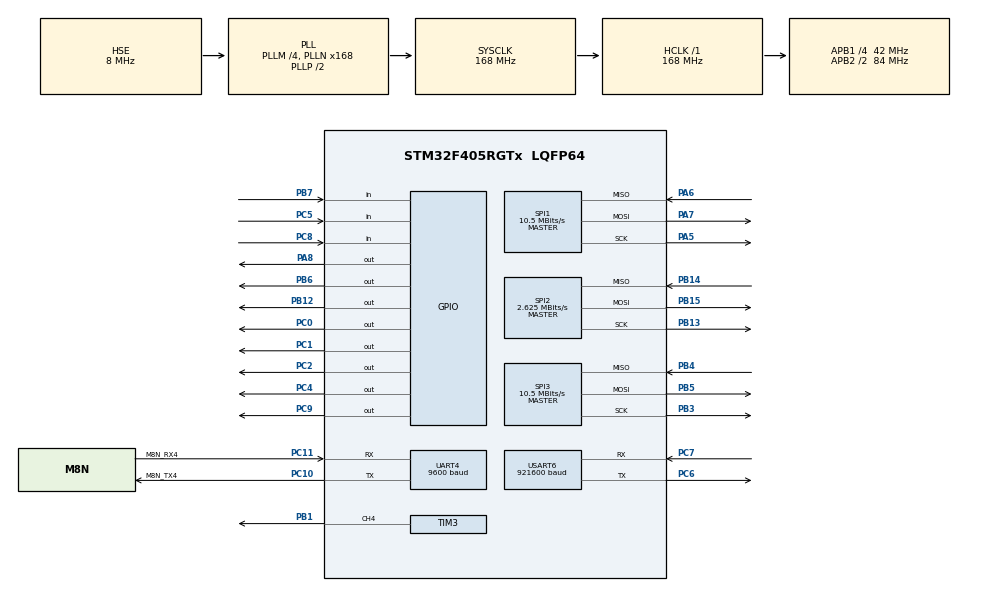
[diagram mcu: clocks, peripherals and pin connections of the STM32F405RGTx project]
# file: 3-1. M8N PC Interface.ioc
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Mcu.Family=STM32F4
Mcu.Name=STM32F405RGTx
Mcu.Package=LQFP64
NVIC.PriorityGroup=NVIC_PRIORITYGROUP_4
NVIC.UART4_IRQn=true\:0\:0\:false\:false\:true\:true\:true
NVIC.USART6_IRQn=true\:0\:0\:false\:false\:true\:true\:true
PA5.Mode=Full_Duplex_Master
PA5.Signal=SPI1_SCK
PA6.Mode=Full_Duplex_Master
PA6.Signal=SPI1_MISO
PA7.Mode=Full_Duplex_Master
PA7.Signal=SPI1_MOSI
PA8.Signal=GPIO_Output
PB1.Signal=S_TIM3_CH4
PB12.Signal=GPIO_Output
PB13.Mode=Full_Duplex_Master
PB13.Signal=SPI2_SCK
PB14.Mode=Full_Duplex_Master
PB14.Signal=SPI2_MISO
PB15.Mode=Full_Duplex_Master
PB15.Signal=SPI2_MOSI
PB3.Mode=Full_Duplex_Master
PB3.Signal=SPI3_SCK
PB4.Mode=Full_Duplex_Master
PB4.Signal=SPI3_MISO
PB5.Mode=Full_Duplex_Master
PB5.Signal=SPI3_MOSI
PB6.Signal=GPIO_Output
PB7.Signal=GPIO_Input
PC0.Signal=GPIO_Output
PC1.Signal=GPIO_Output
PC10.GPIO_Label=M8N_TX4
PC10.Mode=Asynchronous
PC10.Signal=UART4_TX
PC11.GPIO_Label=M8N_RX4
PC11.Mode=Asynchronous
PC11.Signal=UART4_RX
PC2.Signal=GPIO_Output
PC4.Signal=GPIO_Output
PC5.Signal=GPIO_Input
PC6.Mode=Asynchronous
PC6.Signal=USART6_TX
PC7.Mode=Asynchronous
PC7.Signal=USART6_RX
PC8.Signal=GPIO_Input
PC9.Signal=GPIO_Output
PH0-OSC_IN.Mode=HSE-External-Oscillator
PH0-OSC_IN.Signal=RCC_OSC_IN
PH1-OSC_OUT.Mode=HSE-External-Oscillator
PH1-OSC_OUT.Signal=RCC_OSC_OUT
ProjectManager.HeapSize=0x200
ProjectManager.StackSize=0x400
ProjectManager.TargetToolchain=STM32CubeIDE
RCC.48MHZClocksFreq_Value=84000000
RCC.AHBFreq_Value=168000000
RCC.APB1CLKDivider=RCC_HCLK_DIV4
RCC.APB1Freq_Value=42000000
RCC.APB1TimFreq_Value=84000000
RCC.APB2CLKDivider=RCC_HCLK_DIV2
RCC.APB2Freq_Value=84000000
RCC.APB2TimFreq_Value=168000000
RCC.CortexFreq_Value=168000000
RCC.HCLKFreq_Value=168000000
RCC.HSE_VALUE=8000000
RCC.HSI_VALUE=16000000
RCC.LSE_VALUE=32768
RCC.PLLM=4
RCC.PLLN=168
RCC.PLLSourceVirtual=RCC_PLLSOURCE_HSE
RCC.SYSCLKFreq_VALUE=168000000
RCC.SYSCLKSource=RCC_SYSCLKSOURCE_PLLCLK
RCC.VCOOutputFreq_Value=336000000
SH.S_TIM3_CH4.0=TIM3_CH4,PWM Generation4 CH4
SPI1.BaudRatePrescaler=SPI_BAUDRATEPRESCALER_8
SPI1.CLKPhase=SPI_PHASE_2EDGE
SPI1.CLKPolarity=SPI_POLARITY_HIGH
SPI1.CalculateBaudRate=10.5 MBits/s
SPI1.Direction=SPI_DIRECTION_2LINES
SPI1.Mode=SPI_MODE_MASTER
SPI1.VirtualType=VM_MASTER
SPI2.BaudRatePrescaler=SPI_BAUDRATEPRESCALER_16
SPI2.CLKPhase=SPI_PHASE_2EDGE
SPI2.CLKPolarity=SPI_POLARITY_HIGH
SPI2.CalculateBaudRate=2.625 MBits/s
SPI2.Direction=SPI_DIRECTION_2LINES
SPI2.Mode=SPI_MODE_MASTER
SPI2.VirtualType=VM_MASTER
SPI3.BaudRatePrescaler=SPI_BAUDRATEPRESCALER_4
SPI3.CLKPhase=SPI_PHASE_2EDGE
SPI3.CLKPolarity=SPI_POLARITY_HIGH
SPI3.CalculateBaudRate=10.5 MBits/s
SPI3.Direction=SPI_DIRECTION_2LINES
SPI3.Mode=SPI_MODE_MASTER
SPI3.VirtualType=VM_MASTER
TIM3.AutoReloadPreload=TIM_AUTORELOAD_PRELOAD_ENABLE
TIM3.Channel-PWM\ Generation4\ CH4=TIM_CHANNEL_4
TIM3.OCFastMode_PWM-PWM\ Generation4\ CH4=TIM_OCFAST_ENABLE
TIM3.Period=20
TIM3.Prescaler=999
TIM3.Pulse-PWM\ Generation4\ CH4=10
UART4.BaudRate=9600
UART4.VirtualMode=Asynchronous
USART6.BaudRate=921600
USART6.VirtualMode=VM_ASYNC
VP_TIM3_VS_ClockSourceINT.Mode=Internal
board=custom

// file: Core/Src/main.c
/* USER CODE BEGIN Header */
/**
  ******************************************************************************
  * @file           : main.c
  * @brief          : Main program body
  ******************************************************************************
  * @attention
  *
  * <h2><center>&copy; Copyright (c) 2021 STMicroelectronics.
  * All rights reserved.</center></h2>
  *
  * This software component is licensed by ST under BSD 3-Clause license,
  * the "License"; You may not use this file except in compliance with the
  * License. You may obtain a copy of the License at:
  *                        opensource.org/licenses/BSD-3-Clause
  *
  ******************************************************************************
  */
/* USER CODE END Header */

#include "main.h"
#include "spi.h"
#include "tim.h"
#include "usart.h"
#include "gpio.h"

/* USER CODE BEGIN Includes */
#include "BNO080.h"
#include "Quaternion.h"
#include "ICM20602.h"
#include "LPS22HH.h"
/* USER CODE END Includes */

/* USER CODE BEGIN PTD */

// printf setting
int _write(int file, char* p, int len)
{
	for(int i = 0; i < len; i++)
	{
		LL_USART_TransmitData8(USART6, *(p+i));
		HAL_Delay(1);
	}
}

/* USER CODE END PTD */

/* USER CODE BEGIN PM */

#define baro_var 0.90f

/* USER CODE END PM */

/* USER CODE BEGIN PV */

extern uint8_t uart6_rx_flag;
extern uint8_t uart6_rx_data;

/* USER CODE END PV */

void SystemClock_Config(void);

int main(void)
{
  /* USER CODE BEGIN 1 */
	int count = 0;
	float f = 1.234;
	float quat[4];
	float quatRadianAccuracy;
  /* USER CODE END 1 */

  /* MCU Configuration--------------------------------------------------------*/

  /* Reset of all peripherals, Initializes the Flash interface and the Systick. */
  HAL_Init();

  /* Configure the system clock */
  SystemClock_Config();

  /* Initialize all configured peripherals */
  MX_GPIO_Init();
  MX_TIM3_Init();
  MX_USART6_UART_Init();
  MX_SPI2_Init();
  MX_SPI1_Init();
  MX_SPI3_Init();
  MX_UART4_Init();
  /* USER CODE BEGIN 2 */

  // Buzzer Setting
  LL_TIM_EnableCounter(TIM3);
  LL_TIM_CC_EnableChannel(TIM3, LL_TIM_CHANNEL_CH4);
  TIM3->PSC = 2000;
  HAL_Delay(100);
  TIM3->PSC = 1500;
  HAL_Delay(100);
  TIM3->PSC = 1000;
  HAL_Delay(100);
  LL_TIM_CC_DisableChannel(TIM3, LL_TIM_CHANNEL_CH4);

  // UART Interrupt Setting(Debug)
  LL_USART_EnableIT_RXNE(USART6);

  // BNO080_Initialization
  BNO080_Initialization();
  BNO080_enableRotationVector(2500);

  // ICM20602_Initialization
  ICM20602_Initialization();

  // LPS22HH_Initialization
  LPS22HH_Initialization();

  // UART Interrupt Setting(GPS)
  LL_USART_EnableIT_RXNE(UART4);
  /* USER CODE END 2 */

  /* Infinite loop */
  while (1)
  {

    /* USER CODE BEGIN 3 */
//	  // BNO080 TEST
//	  if(BNO080_dataAvailable() == 1)
//	  {
//		  quat[0] =  BNO080_getQuatI();
//		  quat[1] =  BNO080_getQuatJ();
//		  quat[2] =  BNO080_getQuatK();
//		  quat[3] =  BNO080_getQuatReal();
//		  quatRadianAccuracy =  BNO080_getQuatRadianAccuracy();
//
//		  Quaternion_Update(&quat[0]);
//
//		  printf("%.2f\t%.2f\t%.2f\n", BNO080_Roll, BNO080_Pitch, BNO080_Yaw); //print roll, pitch, yaw in degree
//	  }

//	  // ICM20602 TEST
//	  if(ICM20602_DataReady() == 1)
//	  {
//		  ICM20602_Get3AxisGyroRawData(&ICM20602.gyro_x_raw);
//
//		  ICM20602.gyro_x = ICM20602.gyro_x_raw * 2000.f / 32768.f;
//		  ICM20602.gyro_y = ICM20602.gyro_y_raw * 2000.f / 32768.f;
//		  ICM20602.gyro_z = ICM20602.gyro_z_raw * 2000.f / 32768.f;
//
//		  //printf("%d, %d, %d\n", ICM20602.gyro_x_raw, ICM20602.gyro_y_raw, ICM20602.gyro_z_raw);
//		  printf("%d, %d, %d\n", (int)(ICM20602.gyro_x * 100), (int)(ICM20602.gyro_y * 100), (int)(ICM20602.gyro_z * 100));
//	  }

//	  // LPS22HH TSET
//	  if(LPS22HH_DataReady() == 1)
//	  {
//		  LPS22HH_GetPressure(&LPS22HH.pressure_raw);
//		  LPS22HH_GetTemperature(&LPS22HH.temperature_raw);
//
//		  LPS22HH.baroAlt = getAltitude2(LPS22HH.pressure_raw/4096.f, LPS22HH.temperature_raw/100.f);
//		  // IIR filter
//		  LPS22HH.baroAltFilt = LPS22HH.baroAltFilt * baro_var + LPS22HH.baroAlt * (1.0f - baro_var);
//		  printf("%d %d\n", (int)(LPS22HH.baroAlt * 100), (int)(LPS22HH.baroAltFilt * 100));
//	  }
  }
  /* USER CODE END 3 */
}

void SystemClock_Config(void)
{
  RCC_OscInitTypeDef RCC_OscInitStruct = {0};
  RCC_ClkInitTypeDef RCC_ClkInitStruct = {0};

  /** Configure the main internal regulator output voltage
  */
  __HAL_RCC_PWR_CLK_ENABLE();
  __HAL_PWR_VOLTAGESCALING_CONFIG(PWR_REGULATOR_VOLTAGE_SCALE1);
  /** Initializes the CPU, AHB and APB busses clocks
  */
  RCC_OscInitStruct.OscillatorType = RCC_OSCILLATORTYPE_HSE;
  RCC_OscInitStruct.HSEState = RCC_HSE_ON;
  RCC_OscInitStruct.PLL.PLLState = RCC_PLL_ON;
  RCC_OscInitStruct.PLL.PLLSource = RCC_PLLSOURCE_HSE;
  RCC_OscInitStruct.PLL.PLLM = 4;
  RCC_OscInitStruct.PLL.PLLN = 168;
  RCC_OscInitStruct.PLL.PLLP = RCC_PLLP_DIV2;
  RCC_OscInitStruct.PLL.PLLQ = 4;
  if (HAL_RCC_OscConfig(&RCC_OscInitStruct) != HAL_OK)
  {
    Error_Handler();
  }
  /** Initializes the CPU, AHB and APB busses clocks
  */
  RCC_ClkInitStruct.ClockType = RCC_CLOCKTYPE_HCLK|RCC_CLOCKTYPE_SYSCLK
                              |RCC_CLOCKTYPE_PCLK1|RCC_CLOCKTYPE_PCLK2;
  RCC_ClkInitStruct.SYSCLKSource = RCC_SYSCLKSOURCE_PLLCLK;
  RCC_ClkInitStruct.AHBCLKDivider = RCC_SYSCLK_DIV1;
  RCC_ClkInitStruct.APB1CLKDivider = RCC_HCLK_DIV4;
  RCC_ClkInitStruct.APB2CLKDivider = RCC_HCLK_DIV2;

  if (HAL_RCC_ClockConfig(&RCC_ClkInitStruct, FLASH_LATENCY_5) != HAL_OK)
  {
    Error_Handler();
  }
}

void Error_Handler(void)
{
}

/************************ (C) COPYRIGHT STMicroelectronics *****END OF FILE****/
